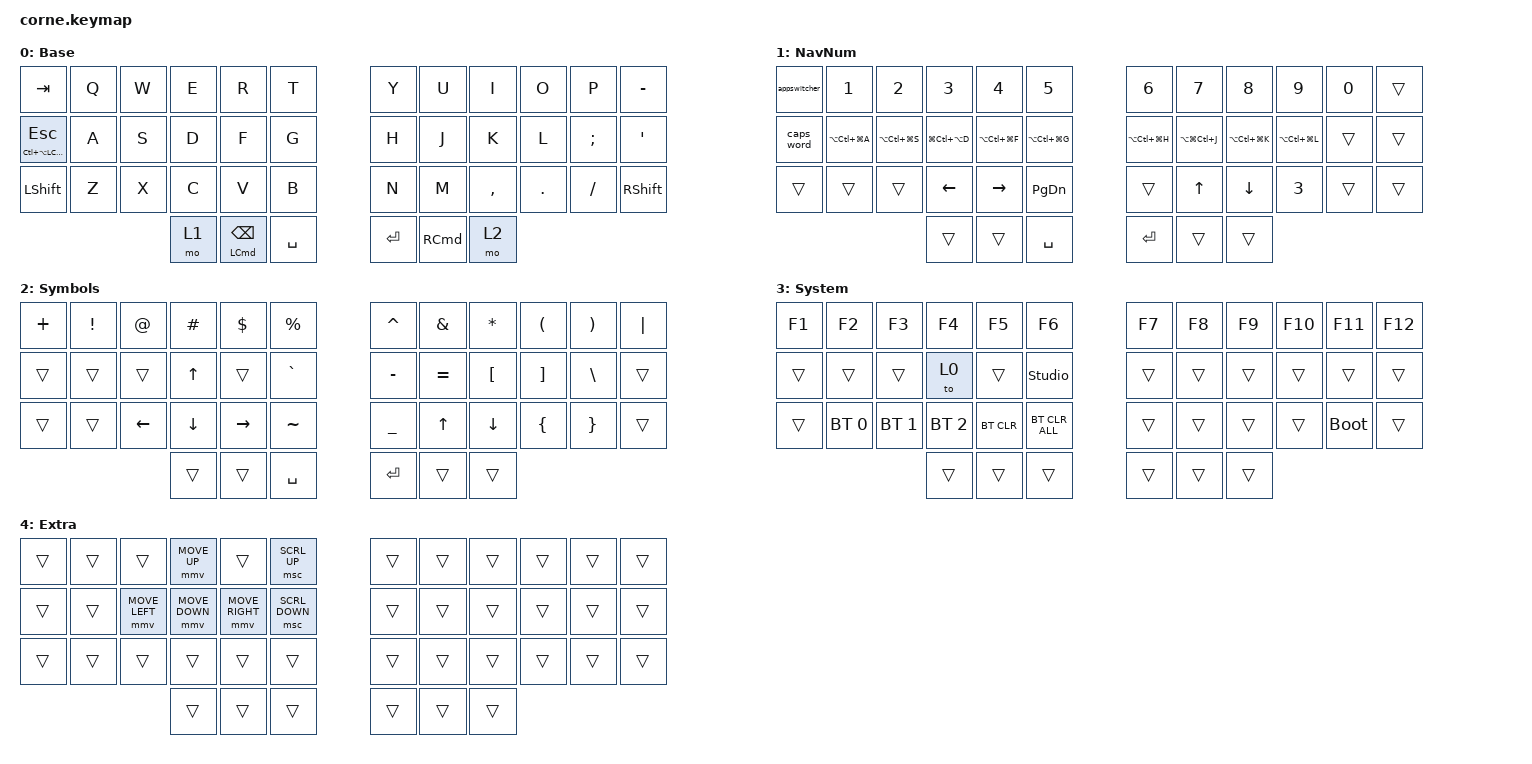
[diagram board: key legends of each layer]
#include <behaviors.dtsi>
#include <dt-bindings/zmk/bt.h>
#include <dt-bindings/zmk/keys.h>
#include <dt-bindings/zmk/pointing.h>

#define DEF 0
#define NAV 1
#define SYM 2
#define ADJ 3
#define EXTRA 4

/ {
    behaviors {
        hm: homerow_mods {
            compatible = "zmk,behavior-hold-tap";
            label = "HOMEROW_MODS";
            #binding-cells = <2>;
            tapping-term-ms = <200>;
            quick_tap_ms = <0>;
            flavor = "tap-preferred";
            bindings = <&kp>, <&kp>;

            quick-tap-ms = <180>;
            global-quick-tap;
        };

        para: para {
            compatible = "zmk,behavior-tap-dance";
            label = "PARA";
            #binding-cells = <0>;
            bindings = <&kp LEFT_PARENTHESIS>, <&kp RIGHT_PARENTHESIS>;
        };

        caps: caps {
            compatible = "zmk,behavior-caps-word";
            label = "CAPS";
            #binding-cells = <0>;
            continue-list = <MINUS BACKSPACE>;
        };

        paraless: paraless {
            compatible = "zmk,behavior-mod-morph";
            label = "PARALESS";
            bindings = <&kp LEFT_PARENTHESIS>, <&kp LESS_THAN>;

            #binding-cells = <0>;
            mods = <(MOD_LSFT)>;
        };

        paragreat: paragreat {
            compatible = "zmk,behavior-mod-morph";
            label = "PARAGREAT";
            bindings = <&kp RIGHT_PARENTHESIS>, <&kp GREATER_THAN>;

            #binding-cells = <0>;
            mods = <(MOD_LSFT)>;
        };

        lsm: lsm {
            compatible = "zmk,behavior-hold-tap";
            label = "LSM";
            bindings = <&mo>, <&sk>;

            #binding-cells = <2>;
            tapping-term-ms = <150>;
        };
    };

    macros {
        browsertab: browsertab {
            compatible = "zmk,behavior-macro";
            #binding-cells = <0>;
            bindings =
                <&macro_press>,
                <&kp LCTRL>,
                <&macro_tap>,
                <&kp TAB>,
                <&macro_release>,
                <&kp LCTRL>;
        };

        appswitcher: appswitcher {
            compatible = "zmk,behavior-macro";
            #binding-cells = <0>;
            bindings =
                <&macro_press>,
                <&kp LEFT_COMMAND>,
                <&macro_tap>,
                <&kp TAB>,
                <&macro_release>,
                <&kp LEFT_COMMAND>;

            label = "APPSWITCHER";
        };

        new_macro: new_macro {
            compatible = "zmk,behavior-macro";
            #binding-cells = <0>;
            bindings = <&macro_wait_time 1>, <&kt LEFT_COMMAND>;

            label = "NEW_MACRO";
        };
    };

    combos {
        compatible = "zmk,combos";

        escape {
            bindings = <&kp ESCAPE>;
            key-positions = <13 29>;
        };

        delete {
            bindings = <&kp DELETE>;
            key-positions = <15 21>;
        };

        perc {
            bindings = <&kp PERCENT>;
            key-positions = <5 17>;
        };

        equal {
            bindings = <&kp EQUAL>;
            key-positions = <28 16>;
        };

        dollar {
            bindings = <&kp DOLLAR>;
            key-positions = <4 16>;
        };

        pound {
            bindings = <&kp POUND>;
            key-positions = <3 15>;
        };

        at {
            bindings = <&kp AT>;
            key-positions = <2 14>;
        };

        backslash {
            bindings = <&kp BACKSLASH>;
            key-positions = <26 14>;
        };

        cmd+right {
            bindings = <&kp LG(RIGHT)>;
            key-positions = <28 27>;
        };

        cmd+left {
            bindings = <&kp RG(LEFT)>;
            key-positions = <26 27>;
        };

        star {
            bindings = <&kp STAR>;
            key-positions = <8 20>;
        };

        slash {
            bindings = <&kp SLASH>;
            key-positions = <32 20>;
        };

        plus {
            bindings = <&kp PLUS>;
            key-positions = <7 19>;
        };

        minus {
            bindings = <&kp KP_MINUS>;
            key-positions = <31 19>;
        };

        underscore {
            bindings = <&kp UNDER>;
            key-positions = <30 18>;
        };

        leftbrack {
            bindings = <&kp LEFT_BRACKET>;
            key-positions = <31 32>;
        };

        rightbrack {
            bindings = <&kp RIGHT_BRACKET>;
            key-positions = <33 32>;
        };

        para-less {
            bindings = <&paraless>;
            key-positions = <20 19>;
        };

        para-great {
            bindings = <&paragreat>;
            key-positions = <20 21>;
        };

        mouseless {
            bindings = <&kp DELETE>;
            key-positions = <24 38>;
        };

        mouseless_r {
            bindings = <&kp DELETE>;
            key-positions = <39 35>;
        };

        layer-3-combo {
            bindings = <&tog 3>;
            key-positions = <36 41>;
        };
    };

    //

    keymap {
        compatible = "zmk,keymap";

        DEF {
            display-name = "Base";

            // -----------------------------------------------------------------------------------------
            // |  Q  |  W  |  E  |  R  |  T  |   |  Y  |  U   |  I  |  O  |  P  |
            // |  A  |  S  |  D  |  F  |  G  |   |  H  |  J   |  K  |  L  |  ;  |
            // |  Z  |  X  |  C  |  V  |  B  |   |  N  |  M   |  ,  |  .  |  /  |
            // | GUI | CTRL | SHFT | LWR | SPC |   | ENT | RSE  | BKSP | ALT | ESC |

            bindings = <
&kp TAB                          &kp Q  &kp W  &kp E  &kp R                       &kp T        &kp Y    &kp U              &kp I      &kp O    &kp P     &kp MINUS
&mt LC(LA(LEFT_COMMAND)) ESCAPE  &kp A  &kp S  &kp D  &kp F                       &kp G        &kp H    &kp J              &kp K      &kp L    &kp SEMI  &kp SINGLE_QUOTE
&kp LEFT_SHIFT                   &kp Z  &kp X  &kp C  &kp V                       &kp B        &kp N    &kp M              &kp COMMA  &kp DOT  &kp FSLH  &kp RSHFT
                                               &mo 1  &mt LEFT_COMMAND BACKSPACE  &kp SPACE    &kp RET  &kp RIGHT_COMMAND  &mo 2
            >;
        };

        NAV {
            display-name = "NavNum";

            // -----------------------------------------------------------------------------------------
            // |  TAB |  1  |  2  |  3  |  4  |  5  |   |  6  |  7  |  8  |  9  |  0  | BKSP |
            // | BTCLR| BT1 | BT2 | BT3 | BT4 | BT5 |   | LFT | DWN |  UP | RGT |     |      |
            // | SHFT |     |     |     |     |     |   |     |     |     |     |     |      |
            // | GUI | CTRL | SHFT | LWR | SPC |   | ENT | RSE  | BKSP | ALT | ESC |

            bindings = <
&appswitcher  &kp N1             &kp N2             &kp N3             &kp N4             &kp N5               &kp N6             &kp N7             &kp N8             &kp N9             &kp N0  &trans
&caps_word    &kp LA(LC(LG(A)))  &kp LA(LC(LG(S)))  &kp LG(LC(LA(D)))  &kp LA(LC(LG(F)))  &kp LA(LC(LG(G)))    &kp LA(LC(LG(H)))  &kp LA(LG(LC(J)))  &kp LA(LC(LG(K)))  &kp LA(LC(LG(L)))  &trans  &trans
&trans        &trans             &trans             &kp LEFT_ARROW     &kp RIGHT_ARROW    &kp PAGE_DOWN        &trans             &kp UP_ARROW       &kp DOWN_ARROW     &kp N3             &trans  &trans
                                                    &trans             &trans             &kp SPACE            &kp RET            &trans             &trans
            >;
        };

        SYM {
            display-name = "Symbols";

            // -----------------------------------------------------------------------------------------
            // |  TAB |  !  |  @  |  #  |  $  |  %  |   |  ^  |  &  |  *  |  (  |  )  | BKSP |
            // | CTRL |     |     |     |     |     |   |  -  |  =  |  [  |  ]  |  \  |  `   |
            // | SHFT |     |     |     |     |     |   |  _  |  +  |  {  |  }  | "|" |  ~   |
            //                    | GUI |     | SPC |   | ENT |     | ALT |

            bindings = <
&kp PLUS  &kp EXCL  &kp AT          &kp HASH        &kp DLLR         &kp PRCNT    &kp CARET  &kp AMPS   &kp ASTRK  &kp LEFT_PARENTHESIS  &kp RPAR         &kp PIPE
&trans    &trans    &trans          &kp UP_ARROW    &trans           &kp GRAVE    &kp MINUS  &kp EQUAL  &kp LBKT   &kp RBKT              &kp BSLH         &trans
&trans    &trans    &kp LEFT_ARROW  &kp DOWN_ARROW  &kp RIGHT_ARROW  &kp TILDE    &kp UNDER  &kp UP     &kp DOWN   &kp LBRC              &kp RIGHT_BRACE  &trans
                                    &trans          &trans           &kp SPACE    &kp RET    &trans     &trans
            >;
        };

        ADJ {
            display-name = "System";
            bindings = <
&kp F1  &kp F2        &kp F3        &kp F4        &kp F5      &kp F6            &kp F7  &kp F8  &kp F9  &kp F10  &kp F11      &kp F12
&trans  &trans        &trans        &to 0         &trans      &studio_unlock    &trans  &trans  &trans  &trans   &trans       &trans
&trans  &bt BT_SEL 0  &bt BT_SEL 1  &bt BT_SEL 2  &bt BT_CLR  &bt BT_CLR_ALL    &trans  &trans  &trans  &trans   &bootloader  &trans
                                    &trans        &trans      &trans            &trans  &trans  &trans
            >;
        };

        EXTRA {
            display-name = "Extra";
            bindings = <
&trans  &trans  &trans          &mmv MOVE_UP    &trans           &msc SCRL_UP      &trans  &trans  &trans  &trans  &trans  &trans
&trans  &trans  &mmv MOVE_LEFT  &mmv MOVE_DOWN  &mmv MOVE_RIGHT  &msc SCRL_DOWN    &trans  &trans  &trans  &trans  &trans  &trans
&trans  &trans  &trans          &trans          &trans           &trans            &trans  &trans  &trans  &trans  &trans  &trans
                                &trans          &trans           &trans            &trans  &trans  &trans
            >;
        };
    };

    conditional_layers {
        compatible = "zmk,conditional-layers";

        l3 {
            if-layers = <1 2>;
            then-layer = <3>;
        };
    };
};
